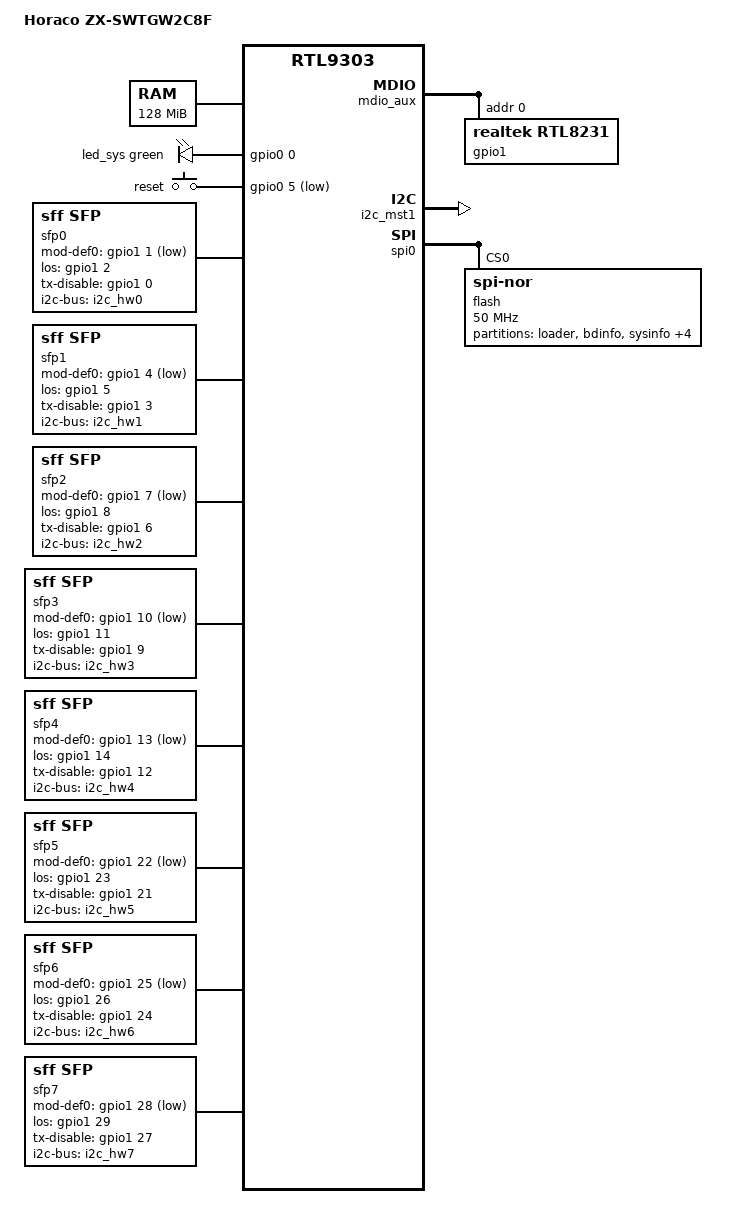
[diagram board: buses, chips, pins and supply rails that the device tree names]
// SPDX-License-Identifier: GPL-2.0-or-later

#include "rtl930x.dtsi"

#include <dt-bindings/input/input.h>
#include <dt-bindings/gpio/gpio.h>
#include <dt-bindings/leds/common.h>

/ {
	compatible = "horaco,zx-swtgw2c8f", "realtek,rtl9303-soc";
	model = "Horaco ZX-SWTGW2C8F";

	aliases {
		label-mac-device = &ethernet0;
		led-boot = &led_sys;
		led-failsafe = &led_sys;
		led-running = &led_sys;
		led-upgrade = &led_sys;
	};

	chosen {
		bootargs = "console=ttyS0,115200 earlyprintk";
	};

	memory@0 {
		device_type = "memory";
		reg = <0x0 0x8000000>;
	};

	led_set {
		compatible = "realtek,rtl9300-leds";
		realtek,led-mode = <RTL93XX_LED_MODE_SINGLE_COLOR_SCAN>;

		led_set0 = <RTL93XX_LED_SET_NONE
		            (RTL93XX_LED_SET_1G | RTL93XX_LED_SET_LINK | RTL93XX_LED_SET_ACT)
		            (RTL93XX_LED_SET_10G | RTL93XX_LED_SET_LINK | RTL93XX_LED_SET_ACT)>;
	};

	leds {
		compatible = "gpio-leds";
		pinctrl-names = "default";
		pinctrl-0 = <&pinmux_disable_sys_led>;

		led_sys: sys {
			color = <LED_COLOR_ID_GREEN>;
			function = LED_FUNCTION_STATUS;
			gpios = <&gpio0 0 GPIO_ACTIVE_HIGH>;
			linux,default-trigger = "heartbeat";
		};
	};

	keys {
		compatible = "gpio-keys";

		mode {
			label = "reset";
			gpios = <&gpio0 5 GPIO_ACTIVE_LOW>;
			linux,code = <KEY_RESTART>;
		};
	};

	sfp0: sfp-p1 {
		compatible = "sff,sfp";
		i2c-bus = <&i2c_hw0>;
		mod-def0-gpio = <&gpio1 1 GPIO_ACTIVE_LOW>;
		los-gpio = <&gpio1 2 GPIO_ACTIVE_HIGH>;
		tx-disable-gpio = <&gpio1 0 GPIO_ACTIVE_HIGH>;
	};

	sfp1: sfp-p2 {
		compatible = "sff,sfp";
		i2c-bus = <&i2c_hw1>;
		mod-def0-gpio = <&gpio1 4 GPIO_ACTIVE_LOW>;
		los-gpio = <&gpio1 5 GPIO_ACTIVE_HIGH>;
		tx-disable-gpio = <&gpio1 3 GPIO_ACTIVE_HIGH>;
	};

	sfp2: sfp-p3 {
		compatible = "sff,sfp";
		i2c-bus = <&i2c_hw2>;
		mod-def0-gpio = <&gpio1 7 GPIO_ACTIVE_LOW>;
		los-gpio = <&gpio1 8 GPIO_ACTIVE_HIGH>;
		tx-disable-gpio = <&gpio1 6 GPIO_ACTIVE_HIGH>;
	};

	sfp3: sfp-p4 {
		compatible = "sff,sfp";
		i2c-bus = <&i2c_hw3>;
		mod-def0-gpio = <&gpio1 10 GPIO_ACTIVE_LOW>;
		los-gpio = <&gpio1 11 GPIO_ACTIVE_HIGH>;
		tx-disable-gpio = <&gpio1 9 GPIO_ACTIVE_HIGH>;
	};

	sfp4: sfp-p5 {
		compatible = "sff,sfp";
		i2c-bus = <&i2c_hw4>;
		mod-def0-gpio = <&gpio1 13 GPIO_ACTIVE_LOW>;
		los-gpio = <&gpio1 14 GPIO_ACTIVE_HIGH>;
		tx-disable-gpio = <&gpio1 12 GPIO_ACTIVE_HIGH>;
	};

	sfp5: sfp-p6 {
		compatible = "sff,sfp";
		i2c-bus = <&i2c_hw5>;
		mod-def0-gpio = <&gpio1 22 GPIO_ACTIVE_LOW>;
		los-gpio = <&gpio1 23 GPIO_ACTIVE_HIGH>;
		tx-disable-gpio = <&gpio1 21 GPIO_ACTIVE_HIGH>;
	};

	sfp6: sfp-p7 {
		compatible = "sff,sfp";
		i2c-bus = <&i2c_hw6>;
		mod-def0-gpio = <&gpio1 25 GPIO_ACTIVE_LOW>;
		los-gpio = <&gpio1 26 GPIO_ACTIVE_HIGH>;
		tx-disable-gpio = <&gpio1 24 GPIO_ACTIVE_HIGH>;
	};

	sfp7: sfp-p8 {
		compatible = "sff,sfp";
		i2c-bus = <&i2c_hw7>;
		mod-def0-gpio = <&gpio1 28 GPIO_ACTIVE_LOW>;
		los-gpio = <&gpio1 29 GPIO_ACTIVE_HIGH>;
		tx-disable-gpio = <&gpio1 27 GPIO_ACTIVE_HIGH>;
	};
};

&mdio_aux {
	pinctrl-names = "default";
	pinctrl-0 = <&pinmux_gpio_mdio_en>;
	status = "okay";

	gpio1: gpio@0 {
		compatible = "realtek,rtl8231";
		reg = <0>;

		gpio-controller;
		#gpio-cells = <2>;
		gpio-ranges = <&gpio1 0 0 37>;
	};

};

&i2c_mst1 {
	status = "okay";

	i2c_hw0: i2c@0 { reg = <0>; };
	i2c_hw1: i2c@1 { reg = <1>; };
	i2c_hw2: i2c@2 { reg = <2>; };
	i2c_hw3: i2c@3 { reg = <3>; };
	i2c_hw4: i2c@4 { reg = <4>; };
	i2c_hw5: i2c@5 { reg = <5>; };
	i2c_hw6: i2c@6 { reg = <6>; };
	i2c_hw7: i2c@7 { reg = <7>; };
};

&switch0 {
	ethernet-ports {
		#address-cells = <1>;
		#size-cells = <0>;

		SWITCH_PORT_SFP(0, 1, 2, 0, 0)
		SWITCH_PORT_SFP(8, 2, 3, 0, 1)
		SWITCH_PORT_SFP(16, 3, 4, 0, 2)
		SWITCH_PORT_SFP(20, 4, 5, 0, 3)
		SWITCH_PORT_SFP(24, 5, 6, 0, 4)
		SWITCH_PORT_SFP(25, 6, 7, 0, 5)
		SWITCH_PORT_SFP(26, 7, 8, 0, 6)
		SWITCH_PORT_SFP(27, 8, 9, 0, 7)

		port@1c {
			reg = <28>;
			ethernet = <&ethernet0>;
			phy-mode = "internal";
			fixed-link {
				speed = <1000>;
				full-duplex;
			};
		};
	};
};

&spi0 {
	status = "okay";

	flash@0 {
		compatible = "jedec,spi-nor";
		reg = <0>;
		spi-max-frequency = <50000000>;

		partitions {
			compatible = "fixed-partitions";
			#address-cells = <1>;
			#size-cells = <1>;

			partition@0 {
				label = "loader";
				reg = <0x0 0xe0000>;
				read-only;
			};

			partition@e0000 {
				label = "bdinfo";
				reg = <0xe0000 0x10000>;
				read-only;

				nvmem-layout {
					compatible = "u-boot,env";

					macaddr_ubootenv_ethaddr: ethaddr {
						#nvmem-cell-cells = <1>;
					};
				};
			};

			partition@f0000 {
				label = "sysinfo";
				reg = <0xf0000 0x10000>;
				read-only;
			};

			partition@100000 {
				label = "jffs2-cfg";
				reg = <0x100000 0x100000>;
				read-only;
			};

			partition@200000 {
				label = "jffs2-log";
				reg = <0x200000 0x100000>;
				read-only;
			};

			partition@300000 {
				label = "runtime";
				reg = <0x300000 0xc00000>;
				compatible = "openwrt,uimage";
				openwrt,ih-magic = <0x83800000>;
			};

			partition@f00000 {
				label = "oeminfo";
				reg = <0xf00000 0x100000>;
				read-only;
			};
		};
	};
};

&ethernet0 {
	nvmem-cells = <&macaddr_ubootenv_ethaddr 0>;
	nvmem-cell-names = "mac-address";
};
